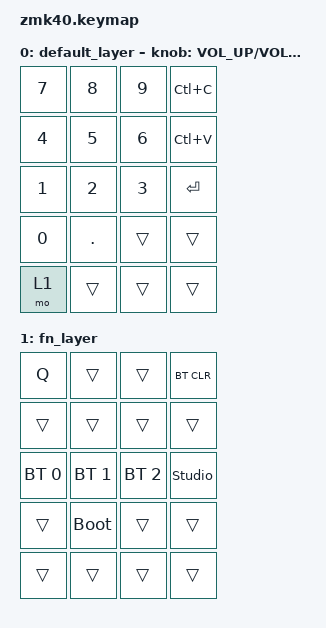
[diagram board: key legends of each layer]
#include <behaviors.dtsi>
#include <dt-bindings/zmk/keys.h>
#include <dt-bindings/zmk/bt.h>
#include <dt-bindings/zmk/outputs.h>
#include <dt-bindings/zmk/ext_power.h>

#define FN_LAYER 1

/ {
	keymap {
		compatible = "zmk,keymap";

		default_layer {

			bindings = <
	&kp N7          &kp N8           &kp N9           &kp LC(C)
	&kp N4          &kp N5           &kp N6           &kp LC(V)
	&kp N1          &kp N2           &kp N3           &kp RET
	&kp N0          &kp DOT          &trans           &trans
	&mo 1           &trans           &trans           &trans
			>;
		    sensor-bindings = <&inc_dec_kp C_VOL_UP C_VOL_DN>;
		};

		fn_layer {

			bindings = <
	&kp Q          &trans             &trans                  &bt BT_CLR        
	&trans         &trans             &trans                  &trans          
	&bt BT_SEL 0   &bt BT_SEL 1       &bt BT_SEL 2            &studio_unlock        
	&trans         &bootloader        &trans                  &trans       
	&trans         &trans             &trans                  &trans                
			>;
		};
	};
};

